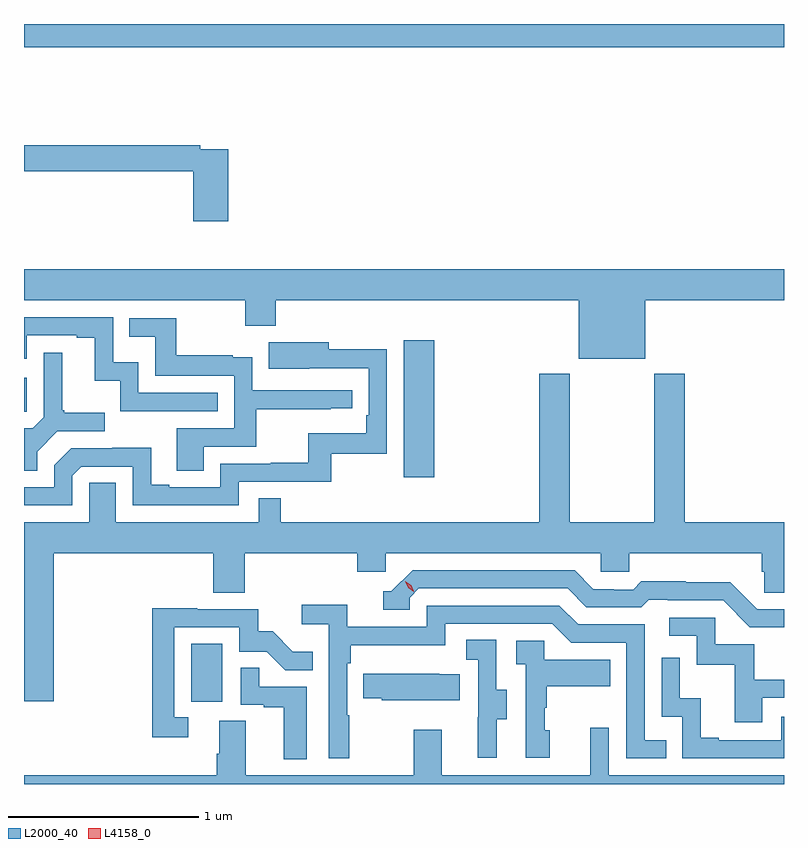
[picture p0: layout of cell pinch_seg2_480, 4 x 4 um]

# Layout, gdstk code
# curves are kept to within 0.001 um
import gdstk
lib = gdstk.Library(unit=1e-6, precision=1e-09)
def R(c, l, rs):  # rectangles x0, y0, x1, y1
    for r in rs: c.add(gdstk.rectangle(r[:2], r[2:], *l))
def P(c, l, *ps):  # polygons
    for p in ps: c.add(gdstk.Polygon(p, *l))
L2000_40 = (2000, 40)
L4158_0 = (4158, 0)

pinch_seg2_480 = lib.new_cell('pinch_seg2_480')
R(pinch_seg2_480, L2000_40, [(924.338,601.566,924.502,601.873), (925.457,602.748,925.618,603.469), (923.458,603.093,923.472,603.273), (923.458,605.012,927.458,605.134)])
P(pinch_seg2_480, L2000_40, [(924.533,604.476),(924.386,604.476),(924.386,604.496),(923.458,604.496),(923.458,604.36),(924.35,604.36),(924.35,604.095),(924.533,604.095)],
  [(926.728,603.68),(927.458,603.68),(927.458,603.844),(923.458,603.844),(923.458,603.68),(924.622,603.68),(924.622,603.545),(924.782,603.545),(924.782,603.68),(926.378,603.68),(926.378,603.371),(926.728,603.371)],
  [(924.479,603.192),(924.06,603.192),(924.06,603.355),(923.928,603.355),(923.928,603.591),(923.458,603.591),(923.458,603.372),(923.472,603.372),(923.472,603.495),(923.735,603.495),(923.735,603.483),(923.831,603.483),(923.831,603.257),(923.964,603.257),(923.964,603.096),(924.479,603.096)],
  [(924.403,602.91),(924.68,602.91),(924.68,603.106),(925.073,603.106),(925.073,603.111),(925.186,603.111),(925.186,603.207),(924.66,603.207),(924.66,603.379),(924.557,603.379),(924.557,603.391),(924.259,603.391),(924.259,603.585),(924.013,603.585),(924.013,603.488),(924.148,603.488),(924.148,603.282),(924.564,603.282),(924.564,603.006),(924.263,603.006),(924.263,602.782),(924.403,602.782)],
  [(923.712,602.757),(923.76,602.805),(924.03,602.805),(924.03,602.601),(924.588,602.601),(924.588,602.724),(925.075,602.724),(925.075,602.871),(925.368,602.871),(925.368,603.422),(925.063,603.422),(925.063,603.46),(924.745,603.46),(924.745,603.32),(925.272,603.321),(925.272,603.076),(925.259,603.076),(925.259,602.98),(924.954,602.98),(924.954,602.825),(924.757,602.825),(924.757,602.82),(924.492,602.82),(924.492,602.697),(924.223,602.697),(924.223,602.71),(924.127,602.71),(924.127,602.903),(923.922,602.903),(923.922,602.901),(923.706,602.901),(923.616,602.811),(923.616,602.697),(923.458,602.697),(923.458,602.601),(923.712,602.601)],
  [(923.527,602.884),(923.634,602.991),(923.884,602.991),(923.884,603.088),(923.671,603.088),(923.671,603.1),(923.659,603.1),(923.659,603.403),(923.562,603.403),(923.562,603.063),(923.505,603.006),(923.458,603.006),(923.458,602.782),(923.527,602.782)],
  [(923.941,602.72),(923.802,602.72),(923.802,602.512),(923.458,602.512),(923.458,601.681),(923.459,601.681),(923.459,601.569),(923.615,601.569),(923.615,602.348),(924.455,602.348),(924.455,602.14),(924.62,602.14),(924.62,602.348),(925.211,602.348),(925.211,602.25),(925.362,602.25),(925.362,602.348),(926.493,602.348),(926.493,602.25),(926.643,602.25),(926.643,602.348),(927.341,602.348),(927.341,602.25),(927.355,602.25),(927.355,602.14),(927.458,602.14),(927.458,602.512),(926.936,602.512),(926.936,603.292),(926.776,603.292),(926.776,602.512),(926.331,602.512),(926.331,603.292),(926.171,603.292),(926.171,602.512),(924.809,602.512),(924.809,602.639),(924.693,602.639),(924.693,602.512),(923.941,602.512)],
  [(927.458,602.055),(927.318,602.055),(927.176,602.197),(926.94,602.197),(926.94,602.2),(926.707,602.2),(926.665,602.157),(926.562,602.157),(926.562,602.16),(926.455,602.16),(926.356,602.259),(925.503,602.259),(925.392,602.148),(925.349,602.148),(925.349,602.052),(925.488,602.052),(925.488,602.115),(925.536,602.163),(926.319,602.163),(926.418,602.064),(926.707,602.064),(926.746,602.103),(926.845,602.103),(926.845,602.1),(927.138,602.1),(927.279,601.959),(927.458,601.959)],
  [(925.171,601.496),(925.158,601.496),(925.158,601.769),(925.178,601.769),(925.178,601.865),(925.674,601.865),(925.674,601.977),(926.238,601.977),(926.337,601.878),(926.628,601.878),(926.628,601.269),(926.837,601.269),(926.837,601.365),(926.724,601.365),(926.724,601.974),(926.374,601.974),(926.275,602.073),(925.578,602.073),(925.578,601.962),(925.16,601.962),(925.16,602.078),(924.921,602.078),(924.921,601.976),(925.062,601.976),(925.062,601.269),(925.171,601.269)],
  [(924.322,601.485),(924.249,601.485),(924.249,601.959),(924.591,601.959),(924.591,601.83),(924.736,601.83),(924.834,601.732),(924.977,601.732),(924.977,601.831),(924.873,601.831),(924.766,601.938),(924.69,601.938),(924.69,602.055),(924.371,602.055),(924.371,602.06),(924.133,602.06),(924.133,601.38),(924.322,601.38)],
  [(927.343,601.587),(927.458,601.587),(927.458,601.683),(927.301,601.683),(927.301,601.869),(927.096,601.869),(927.096,602.01),(926.853,602.01),(926.853,601.914),(927,601.914),(927,601.761),(927.199,601.761),(927.199,601.458),(927.343,601.458)],
  [(925.945,601.474),(925.999,601.474),(925.999,601.629),(925.944,601.629),(925.944,601.892),(925.785,601.892),(925.785,601.789),(925.848,601.789),(925.848,601.485),(925.847,601.485),(925.847,601.272),(925.945,601.272)],
  [(926.224,601.416),(926.199,601.416),(926.199,601.535),(926.209,601.535),(926.209,601.649),(926.543,601.649),(926.543,601.789),(926.196,601.789),(926.196,601.887),(926.049,601.887),(926.049,601.763),(926.1,601.763),(926.1,601.272),(926.224,601.272)],
  [(927.458,601.488),(927.444,601.488),(927.444,601.365),(927.115,601.365),(927.115,601.378),(927.02,601.378),(927.02,601.586),(926.91,601.586),(926.91,601.798),(926.814,601.798),(926.814,601.488),(926.922,601.488),(926.922,601.269),(927.458,601.269)],
  [(924.946,601.647),(924.695,601.647),(924.695,601.745),(924.6,601.745),(924.6,601.551),(924.721,601.551),(924.721,601.539),(924.824,601.539),(924.824,601.265),(924.946,601.265)],
  [(925.751,601.711),(925.643,601.711),(925.643,601.714),(925.243,601.714),(925.243,601.585),(925.341,601.585),(925.341,601.574),(925.751,601.574)],
  [(927.458,601.18),(926.535,601.18),(926.535,601.429),(926.438,601.429),(926.438,601.18),(925.657,601.18),(925.657,601.42),(925.51,601.42),(925.51,601.18),(924.625,601.18),(924.625,601.466),(924.485,601.466),(924.485,601.292),(924.473,601.292),(924.473,601.18),(923.458,601.18),(923.458,601.134),(927.458,601.134)])
P(pinch_seg2_480, L4158_0, [(925.51,602.147),(925.48,602.167),(925.464,602.2),(925.464,602.201),(925.464,602.201),(925.495,602.18),(925.51,602.148),(925.51,602.147)])

lib.write_gds('pinch_seg2_480.gds')
